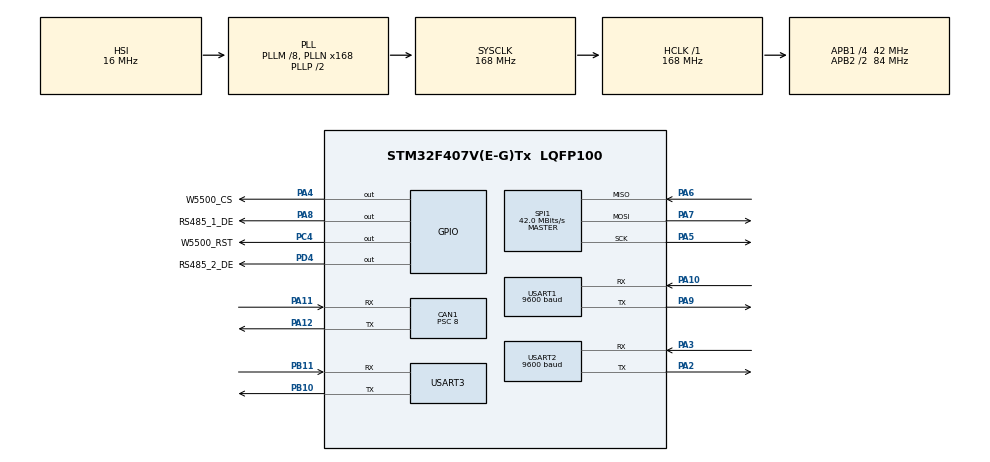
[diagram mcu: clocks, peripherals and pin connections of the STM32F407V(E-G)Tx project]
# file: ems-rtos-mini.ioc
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CAN1.ABOM=ENABLE
CAN1.BS1=CAN_BS1_16TQ
CAN1.BS2=CAN_BS2_4TQ
CAN1.CalculateBaudRate=250000
CAN1.CalculateTimeBit=4000
CAN1.CalculateTimeQuantum=190.47619047619048
CAN1.NART=ENABLE
CAN1.Prescaler=8
Dma.Request0=USART1_RX
Dma.Request1=USART1_TX
Dma.Request2=USART2_RX
Dma.Request3=USART2_TX
Dma.USART1_RX.0.Direction=DMA_PERIPH_TO_MEMORY
Dma.USART1_RX.0.FIFOMode=DMA_FIFOMODE_DISABLE
Dma.USART1_RX.0.Instance=DMA2_Stream2
Dma.USART1_RX.0.MemDataAlignment=DMA_MDATAALIGN_BYTE
Dma.USART1_RX.0.MemInc=DMA_MINC_ENABLE
Dma.USART1_RX.0.Mode=DMA_NORMAL
Dma.USART1_RX.0.PeriphDataAlignment=DMA_PDATAALIGN_BYTE
Dma.USART1_RX.0.PeriphInc=DMA_PINC_DISABLE
Dma.USART1_RX.0.Priority=DMA_PRIORITY_LOW
Dma.USART1_TX.1.Direction=DMA_MEMORY_TO_PERIPH
Dma.USART1_TX.1.FIFOMode=DMA_FIFOMODE_DISABLE
Dma.USART1_TX.1.Instance=DMA2_Stream7
Dma.USART1_TX.1.MemDataAlignment=DMA_MDATAALIGN_BYTE
Dma.USART1_TX.1.MemInc=DMA_MINC_ENABLE
Dma.USART1_TX.1.Mode=DMA_NORMAL
Dma.USART1_TX.1.PeriphDataAlignment=DMA_PDATAALIGN_BYTE
Dma.USART1_TX.1.PeriphInc=DMA_PINC_DISABLE
Dma.USART1_TX.1.Priority=DMA_PRIORITY_LOW
Dma.USART2_RX.2.Direction=DMA_PERIPH_TO_MEMORY
Dma.USART2_RX.2.FIFOMode=DMA_FIFOMODE_DISABLE
Dma.USART2_RX.2.Instance=DMA1_Stream5
Dma.USART2_RX.2.MemDataAlignment=DMA_MDATAALIGN_BYTE
Dma.USART2_RX.2.MemInc=DMA_MINC_ENABLE
Dma.USART2_RX.2.Mode=DMA_NORMAL
Dma.USART2_RX.2.PeriphDataAlignment=DMA_PDATAALIGN_BYTE
Dma.USART2_RX.2.PeriphInc=DMA_PINC_DISABLE
Dma.USART2_RX.2.Priority=DMA_PRIORITY_LOW
Dma.USART2_TX.3.Direction=DMA_MEMORY_TO_PERIPH
Dma.USART2_TX.3.FIFOMode=DMA_FIFOMODE_DISABLE
Dma.USART2_TX.3.Instance=DMA1_Stream6
Dma.USART2_TX.3.MemDataAlignment=DMA_MDATAALIGN_BYTE
Dma.USART2_TX.3.MemInc=DMA_MINC_ENABLE
Dma.USART2_TX.3.Mode=DMA_NORMAL
Dma.USART2_TX.3.PeriphDataAlignment=DMA_PDATAALIGN_BYTE
Dma.USART2_TX.3.PeriphInc=DMA_PINC_DISABLE
Dma.USART2_TX.3.Priority=DMA_PRIORITY_LOW
FREERTOS.Tasks01=defaultTask,24,128,StartDefaultTask,Default,NULL,Dynamic,NULL,NULL
Mcu.Family=STM32F4
Mcu.Name=STM32F407V(E-G)Tx
Mcu.Package=LQFP100
NVIC.CAN1_RX0_IRQn=true\:5\:0\:false\:false\:true\:true\:true\:true\:true
NVIC.DMA1_Stream5_IRQn=true\:5\:0\:false\:false\:true\:true\:false\:true\:true
NVIC.DMA1_Stream6_IRQn=true\:5\:0\:false\:false\:true\:true\:false\:true\:true
NVIC.DMA2_Stream2_IRQn=true\:5\:0\:false\:false\:true\:true\:false\:true\:true
NVIC.DMA2_Stream7_IRQn=true\:5\:0\:false\:false\:true\:true\:false\:true\:true
NVIC.PriorityGroup=NVIC_PRIORITYGROUP_4
NVIC.TIM1_UP_TIM10_IRQn=true\:15\:0\:false\:false\:true\:false\:false\:true\:true
NVIC.TimeBase=TIM1_UP_TIM10_IRQn
NVIC.TimeBaseIP=TIM1
NVIC.USART1_IRQn=true\:5\:0\:false\:false\:true\:true\:true\:true\:true
NVIC.USART2_IRQn=true\:5\:0\:false\:false\:true\:true\:false\:true\:true
PA10.Mode=Asynchronous
PA10.Signal=USART1_RX
PA11.Mode=CAN_Activate
PA11.Signal=CAN1_RX
PA12.Mode=CAN_Activate
PA12.Signal=CAN1_TX
PA13.Mode=Serial_Wire
PA13.Signal=SYS_JTMS-SWDIO
PA14.Mode=Serial_Wire
PA14.Signal=SYS_JTCK-SWCLK
PA2.Mode=Asynchronous
PA2.Signal=USART2_TX
PA3.Mode=Asynchronous
PA3.Signal=USART2_RX
PA4.GPIO_Label=W5500_CS
PA4.Signal=GPIO_Output
PA5.Mode=Full_Duplex_Master
PA5.Signal=SPI1_SCK
PA6.Mode=Full_Duplex_Master
PA6.Signal=SPI1_MISO
PA7.Mode=Full_Duplex_Master
PA7.Signal=SPI1_MOSI
PA8.GPIO_Label=RS485_1_DE
PA8.Signal=GPIO_Output
PA9.Mode=Asynchronous
PA9.Signal=USART1_TX
PB10.Mode=Asynchronous
PB10.Signal=USART3_TX
PB11.Mode=Asynchronous
PB11.Signal=USART3_RX
PC4.GPIO_Label=W5500_RST
PC4.Signal=GPIO_Output
PD4.GPIO_Label=RS485_2_DE
PD4.Signal=GPIO_Output
PH0-OSC_IN.Mode=HSE-External-Oscillator
PH0-OSC_IN.Signal=RCC_OSC_IN
PH1-OSC_OUT.Mode=HSE-External-Oscillator
PH1-OSC_OUT.Signal=RCC_OSC_OUT
ProjectManager.HeapSize=0x200
ProjectManager.StackSize=0x400
ProjectManager.TargetToolchain=STM32CubeIDE
RCC.48MHZClocksFreq_Value=84000000
RCC.AHBFreq_Value=168000000
RCC.APB1CLKDivider=RCC_HCLK_DIV4
RCC.APB1Freq_Value=42000000
RCC.APB1TimFreq_Value=84000000
RCC.APB2CLKDivider=RCC_HCLK_DIV2
RCC.APB2Freq_Value=84000000
RCC.APB2TimFreq_Value=168000000
RCC.CortexFreq_Value=168000000
RCC.HCLKFreq_Value=168000000
RCC.HSE_VALUE=25000000
RCC.HSI_VALUE=16000000
RCC.LSE_VALUE=32768
RCC.PLLM=8
RCC.PLLN=168
RCC.SYSCLKFreq_VALUE=168000000
RCC.SYSCLKSource=RCC_SYSCLKSOURCE_PLLCLK
RCC.VCOOutputFreq_Value=336000000
SPI1.CalculateBaudRate=42.0 MBits/s
SPI1.Direction=SPI_DIRECTION_2LINES
SPI1.Mode=SPI_MODE_MASTER
SPI1.VirtualType=VM_MASTER
USART1.BaudRate=9600
USART1.VirtualMode=VM_ASYNC
USART2.BaudRate=9600
USART2.VirtualMode=VM_ASYNC
USART3.VirtualMode=VM_ASYNC
VP_FREERTOS_VS_CMSIS_V2.Mode=CMSIS_V2
VP_SYS_VS_tim1.Mode=TIM1
board=custom

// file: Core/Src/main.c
/* USER CODE BEGIN Header */
/**
  ******************************************************************************
  * @file           : main.c
  * @brief          : Main program body
  ******************************************************************************
  * @attention
  *
  * Copyright (c) 2026 STMicroelectronics.
  * All rights reserved.
  *
  * This software is licensed under terms that can be found in the LICENSE file
  * in the root directory of this software component.
  * If no LICENSE file comes with this software, it is provided AS-IS.
  *
  ******************************************************************************
  */
/* USER CODE END Header */
#include "main.h"
#include "cmsis_os.h"

/* USER CODE BEGIN Includes */
#include "FreeRTOS.h"
#include "task.h"
#include "modbus_rtu.h"
#include "bms_can.h"
#include "mqtt_ota.h"
/* USER CODE END Includes */

CAN_HandleTypeDef hcan1;

SPI_HandleTypeDef hspi1;

UART_HandleTypeDef huart1;
UART_HandleTypeDef huart2;
UART_HandleTypeDef huart3;
DMA_HandleTypeDef hdma_usart1_rx;
DMA_HandleTypeDef hdma_usart1_tx;
DMA_HandleTypeDef hdma_usart2_rx;
DMA_HandleTypeDef hdma_usart2_tx;

/* Definitions for Task_Net */
osThreadId_t netTaskHandle;
const osThreadAttr_t netTask_attributes = {
  .name = "Task_Net",
  .stack_size = 512 * 4,
  .priority = (osPriority_t) osPriorityNormal,
};

/* Definitions for Task_Ctrl */
osThreadId_t ctrlTaskHandle;

// CCM RAM Acceleration: Map the heavy decision brain stack natively to the fast zero-wait-state bus!
__attribute__((section(".ccmram"))) uint32_t ctrlTaskStack[512];
__attribute__((section(".ccmram"))) StaticTask_t ctrlTaskControlBlock;

const osThreadAttr_t ctrlTask_attributes = {
  .name = "Task_Ctrl",
  .cb_mem = &ctrlTaskControlBlock,
  .cb_size = sizeof(ctrlTaskControlBlock),
  .stack_mem = &ctrlTaskStack[0],
  .stack_size = sizeof(ctrlTaskStack),
  .priority = (osPriority_t) osPriorityHigh,
};

/* Definitions for Task_Poll */
osThreadId_t pollTaskHandle;
const osThreadAttr_t pollTask_attributes = {
  .name = "Task_Poll",
  .stack_size = 512 * 4,
  .priority = (osPriority_t) osPriorityRealtime,
};

/* Definitions for Queue_Cmd */
osMessageQueueId_t queueCmdHandle;
const osMessageQueueAttr_t queueCmd_attributes = {
  .name = "Queue_Cmd"
};

/* Definitions for Queue_Data */
osMessageQueueId_t queueDataHandle;
const osMessageQueueAttr_t queueData_attributes = {
  .name = "Queue_Data"
};
/* USER CODE BEGIN PV */
// Global thread-safe telemetry reflection for the 5-second MQTT publisher
volatile SystemState_t latest_system_state = {0};
/* USER CODE END PV */

void SystemClock_Config(void);
static void MX_GPIO_Init(void);
static void MX_DMA_Init(void);
static void MX_USART1_UART_Init(void);
static void MX_USART2_UART_Init(void);
static void MX_CAN1_Init(void);
static void MX_SPI1_Init(void);
static void MX_USART3_UART_Init(void);
void StartNetTask(void *argument);
void StartCtrlTask(void *argument);
void StartPollTask(void *argument);

int main(void)
{

  HAL_Init();

  /* Configure the system clock */
  SystemClock_Config();

  /* Initialize all configured peripherals */
  MX_GPIO_Init();
  MX_DMA_Init();
  MX_USART1_UART_Init();
  MX_USART2_UART_Init();
  MX_CAN1_Init();
  MX_SPI1_Init();
  MX_USART3_UART_Init();
  /* USER CODE BEGIN 2 */
  Modbus_Init();
  BMS_Init();
  NET_Init();
  /* USER CODE END 2 */

  /* Init scheduler */
  osKernelInitialize();
  /* Create the queues for inter-task communication */
  queueCmdHandle = osMessageQueueNew(16, sizeof(CloudCommand_t), &queueCmd_attributes);
  // queueData passes the full assembled system status from Polling up to Control logic
  queueDataHandle = osMessageQueueNew(32, sizeof(SystemState_t), &queueData_attributes);
  /* USER CODE END RTOS_QUEUES */

  /* Create the thread(s) */
  netTaskHandle = osThreadNew(StartNetTask, NULL, &netTask_attributes);
  ctrlTaskHandle = osThreadNew(StartCtrlTask, NULL, &ctrlTask_attributes);
  pollTaskHandle = osThreadNew(StartPollTask, NULL, &pollTask_attributes);

  /* Start scheduler */
  osKernelStart();

  /* We should never get here as control is now taken by the scheduler */

  /* Infinite loop */
  while (1)
  {

  }
}

void SystemClock_Config(void)
{
  RCC_OscInitTypeDef RCC_OscInitStruct = {0};
  RCC_ClkInitTypeDef RCC_ClkInitStruct = {0};

  /** Configure the main internal regulator output voltage
  */
  __HAL_RCC_PWR_CLK_ENABLE();
  __HAL_PWR_VOLTAGESCALING_CONFIG(PWR_REGULATOR_VOLTAGE_SCALE1);

  /** Initializes the RCC Oscillators according to the specified parameters
  * in the RCC_OscInitTypeDef structure.
  */
  RCC_OscInitStruct.OscillatorType = RCC_OSCILLATORTYPE_HSI;
  RCC_OscInitStruct.HSIState = RCC_HSI_ON;
  RCC_OscInitStruct.HSICalibrationValue = RCC_HSICALIBRATION_DEFAULT;
  RCC_OscInitStruct.PLL.PLLState = RCC_PLL_ON;
  RCC_OscInitStruct.PLL.PLLSource = RCC_PLLSOURCE_HSI;
  RCC_OscInitStruct.PLL.PLLM = 8;
  RCC_OscInitStruct.PLL.PLLN = 168;
  RCC_OscInitStruct.PLL.PLLP = RCC_PLLP_DIV2;
  RCC_OscInitStruct.PLL.PLLQ = 4;
  if (HAL_RCC_OscConfig(&RCC_OscInitStruct) != HAL_OK)
  {
    Error_Handler();
  }

  /** Initializes the CPU, AHB and APB buses clocks
  */
  RCC_ClkInitStruct.ClockType = RCC_CLOCKTYPE_HCLK|RCC_CLOCKTYPE_SYSCLK
                              |RCC_CLOCKTYPE_PCLK1|RCC_CLOCKTYPE_PCLK2;
  RCC_ClkInitStruct.SYSCLKSource = RCC_SYSCLKSOURCE_PLLCLK;
  RCC_ClkInitStruct.AHBCLKDivider = RCC_SYSCLK_DIV1;
  RCC_ClkInitStruct.APB1CLKDivider = RCC_HCLK_DIV4;
  RCC_ClkInitStruct.APB2CLKDivider = RCC_HCLK_DIV2;

  if (HAL_RCC_ClockConfig(&RCC_ClkInitStruct, FLASH_LATENCY_5) != HAL_OK)
  {
    Error_Handler();
  }
}

static void MX_CAN1_Init(void)
{

  hcan1.Instance = CAN1;
  hcan1.Init.Prescaler = 8;
  hcan1.Init.Mode = CAN_MODE_NORMAL;
  hcan1.Init.SyncJumpWidth = CAN_SJW_1TQ;
  hcan1.Init.TimeSeg1 = CAN_BS1_16TQ;
  hcan1.Init.TimeSeg2 = CAN_BS2_4TQ;
  hcan1.Init.TimeTriggeredMode = DISABLE;
  hcan1.Init.AutoBusOff = ENABLE;
  hcan1.Init.AutoWakeUp = DISABLE;
  hcan1.Init.AutoRetransmission = ENABLE;
  hcan1.Init.ReceiveFifoLocked = DISABLE;
  hcan1.Init.TransmitFifoPriority = DISABLE;
  if (HAL_CAN_Init(&hcan1) != HAL_OK)
  {
    Error_Handler();
  }

}

static void MX_SPI1_Init(void)
{

  /* SPI1 parameter configuration*/
  hspi1.Instance = SPI1;
  hspi1.Init.Mode = SPI_MODE_MASTER;
  hspi1.Init.Direction = SPI_DIRECTION_2LINES;
  hspi1.Init.DataSize = SPI_DATASIZE_8BIT;
  hspi1.Init.CLKPolarity = SPI_POLARITY_LOW;
  hspi1.Init.CLKPhase = SPI_PHASE_1EDGE;
  hspi1.Init.NSS = SPI_NSS_SOFT;
  hspi1.Init.BaudRatePrescaler = SPI_BAUDRATEPRESCALER_2;
  hspi1.Init.FirstBit = SPI_FIRSTBIT_MSB;
  hspi1.Init.TIMode = SPI_TIMODE_DISABLE;
  hspi1.Init.CRCCalculation = SPI_CRCCALCULATION_DISABLE;
  hspi1.Init.CRCPolynomial = 10;
  if (HAL_SPI_Init(&hspi1) != HAL_OK)
  {
    Error_Handler();
  }

}

static void MX_USART1_UART_Init(void)
{

  huart1.Instance = USART1;
  huart1.Init.BaudRate = 9600;
  huart1.Init.WordLength = UART_WORDLENGTH_8B;
  huart1.Init.StopBits = UART_STOPBITS_1;
  huart1.Init.Parity = UART_PARITY_NONE;
  huart1.Init.Mode = UART_MODE_TX_RX;
  huart1.Init.HwFlowCtl = UART_HWCONTROL_NONE;
  huart1.Init.OverSampling = UART_OVERSAMPLING_16;
  if (HAL_UART_Init(&huart1) != HAL_OK)
  {
    Error_Handler();
  }

}

static void MX_USART2_UART_Init(void)
{

  huart2.Instance = USART2;
  huart2.Init.BaudRate = 9600;
  huart2.Init.WordLength = UART_WORDLENGTH_8B;
  huart2.Init.StopBits = UART_STOPBITS_1;
  huart2.Init.Parity = UART_PARITY_NONE;
  huart2.Init.Mode = UART_MODE_TX_RX;
  huart2.Init.HwFlowCtl = UART_HWCONTROL_NONE;
  huart2.Init.OverSampling = UART_OVERSAMPLING_16;
  if (HAL_UART_Init(&huart2) != HAL_OK)
  {
    Error_Handler();
  }

}

static void MX_USART3_UART_Init(void)
{

  huart3.Instance = USART3;
  huart3.Init.BaudRate = 115200;
  huart3.Init.WordLength = UART_WORDLENGTH_8B;
  huart3.Init.StopBits = UART_STOPBITS_1;
  huart3.Init.Parity = UART_PARITY_NONE;
  huart3.Init.Mode = UART_MODE_TX_RX;
  huart3.Init.HwFlowCtl = UART_HWCONTROL_NONE;
  huart3.Init.OverSampling = UART_OVERSAMPLING_16;
  if (HAL_UART_Init(&huart3) != HAL_OK)
  {
    Error_Handler();
  }

}

static void MX_DMA_Init(void)
{

  /* DMA controller clock enable */
  __HAL_RCC_DMA2_CLK_ENABLE();
  __HAL_RCC_DMA1_CLK_ENABLE();

  /* DMA interrupt init */
  /* DMA1_Stream5_IRQn interrupt configuration */
  HAL_NVIC_SetPriority(DMA1_Stream5_IRQn, 5, 0);
  HAL_NVIC_EnableIRQ(DMA1_Stream5_IRQn);
  /* DMA1_Stream6_IRQn interrupt configuration */
  HAL_NVIC_SetPriority(DMA1_Stream6_IRQn, 5, 0);
  HAL_NVIC_EnableIRQ(DMA1_Stream6_IRQn);
  /* DMA2_Stream2_IRQn interrupt configuration */
  HAL_NVIC_SetPriority(DMA2_Stream2_IRQn, 5, 0);
  HAL_NVIC_EnableIRQ(DMA2_Stream2_IRQn);
  /* DMA2_Stream7_IRQn interrupt configuration */
  HAL_NVIC_SetPriority(DMA2_Stream7_IRQn, 5, 0);
  HAL_NVIC_EnableIRQ(DMA2_Stream7_IRQn);

}

static void MX_GPIO_Init(void)
{
  GPIO_InitTypeDef GPIO_InitStruct = {0};

  /* GPIO Ports Clock Enable */
  __HAL_RCC_GPIOH_CLK_ENABLE();
  __HAL_RCC_GPIOA_CLK_ENABLE();
  __HAL_RCC_GPIOC_CLK_ENABLE();
  __HAL_RCC_GPIOB_CLK_ENABLE();
  __HAL_RCC_GPIOD_CLK_ENABLE();

  /*Configure GPIO pin Output Level */
  HAL_GPIO_WritePin(GPIOA, W5500_CS_Pin|RS485_1_DE_Pin, GPIO_PIN_RESET);

  /*Configure GPIO pin Output Level */
  HAL_GPIO_WritePin(W5500_RST_GPIO_Port, W5500_RST_Pin, GPIO_PIN_RESET);

  /*Configure GPIO pin Output Level */
  HAL_GPIO_WritePin(RS485_2_DE_GPIO_Port, RS485_2_DE_Pin, GPIO_PIN_RESET);

  /*Configure GPIO pins : W5500_CS_Pin RS485_1_DE_Pin */
  GPIO_InitStruct.Pin = W5500_CS_Pin|RS485_1_DE_Pin;
  GPIO_InitStruct.Mode = GPIO_MODE_OUTPUT_PP;
  GPIO_InitStruct.Pull = GPIO_NOPULL;
  GPIO_InitStruct.Speed = GPIO_SPEED_FREQ_LOW;
  HAL_GPIO_Init(GPIOA, &GPIO_InitStruct);

  /*Configure GPIO pin : W5500_RST_Pin */
  GPIO_InitStruct.Pin = W5500_RST_Pin;
  GPIO_InitStruct.Mode = GPIO_MODE_OUTPUT_PP;
  GPIO_InitStruct.Pull = GPIO_NOPULL;
  GPIO_InitStruct.Speed = GPIO_SPEED_FREQ_LOW;
  HAL_GPIO_Init(W5500_RST_GPIO_Port, &GPIO_InitStruct);

  /*Configure GPIO pin : RS485_2_DE_Pin */
  GPIO_InitStruct.Pin = RS485_2_DE_Pin;
  GPIO_InitStruct.Mode = GPIO_MODE_OUTPUT_PP;
  GPIO_InitStruct.Pull = GPIO_NOPULL;
  GPIO_InitStruct.Speed = GPIO_SPEED_FREQ_LOW;
  HAL_GPIO_Init(RS485_2_DE_GPIO_Port, &GPIO_InitStruct);

}

/* USER CODE BEGIN 4 */

extern ModbusInterface_t Modbus_GridMeter;
extern ModbusInterface_t Modbus_Inverters;

/**
 * @brief This hardware interrupt fires the instant the final DMA byte fully leaves the silicone UART queue.
 *        We immediately pull the MAX3485 Transceiver 'DE' (Driver Enable) pin LOW so we flip
 *        the bus from Transmit to Listen before the Slave device starts throwing data back at us.
 */
void HAL_UART_TxCpltCallback(UART_HandleTypeDef *huart)
{
    if (huart->Instance == USART1) {
        HAL_GPIO_WritePin(Modbus_GridMeter.dePort, Modbus_GridMeter.dePin, GPIO_PIN_RESET);

        // Listen backwards using Interrupt. It puts every byte into rxBuffer.
        HAL_UARTEx_ReceiveToIdle_DMA(&huart1, Modbus_GridMeter.rxBuffer, MODBUS_MAX_FRAMELEN);
        __HAL_DMA_DISABLE_IT(&hdma_usart1_rx, DMA_IT_HT); // Disable half-transfer interrupt
    }
    else if (huart->Instance == USART2) {
        HAL_GPIO_WritePin(Modbus_Inverters.dePort, Modbus_Inverters.dePin, GPIO_PIN_RESET);

        HAL_UARTEx_ReceiveToIdle_DMA(&huart2, Modbus_Inverters.rxBuffer, MODBUS_MAX_FRAMELEN);
        __HAL_DMA_DISABLE_IT(&hdma_usart2_rx, DMA_IT_HT);
    }
}

/**
 * @brief This hardware IDLE interrupt fires when the bus goes completely silent after a stream of bytes.
 *        In Modbus, 3.5 character times of silence strictly means the packet is fully over.
 *        This means the Slave device just stopped transmitting.
 */
void HAL_UARTEx_RxEventCallback(UART_HandleTypeDef *huart, uint16_t Size)
{
    if (huart->Instance == USART1) {
        // Record size of the finished packet
        Modbus_GridMeter.rxBytesReceived = Size;

        // Unblock the FreeRTOS Poll_Task instantly!
        osSemaphoreRelease(Modbus_GridMeter.rxCompleteSem);
    }
    else if (huart->Instance == USART2) {
        Modbus_Inverters.rxBytesReceived = Size;
        osSemaphoreRelease(Modbus_Inverters.rxCompleteSem);
    }
}

extern osMessageQueueId_t queueCanRxHandle;

/**
 * @brief This hardware interrupt fires the instant a CAN frame securely lands in
 *        the Silicon RX FIFO 0 Mailbox. It unpacks the raw memory registers and
 *        safely stuffs the frame onto the end of the FreeRTOS Queue_CANRx.
 */
void HAL_CAN_RxFifo0MsgPendingCallback(CAN_HandleTypeDef *hcan)
{
    if (hcan->Instance == CAN1) {
        CAN_RxHeaderTypeDef RxHeader;
        CanFrame_t rxFrame;

        // Fetch frame safely from silicon hardware mailbox into our C-Struct
        if (HAL_CAN_GetRxMessage(hcan, CAN_RX_FIFO0, &RxHeader, rxFrame.data) == HAL_OK) {

            // Unpack 11-Bit or 29-Bit Identifier
            if (RxHeader.IDE == CAN_ID_EXT) {
                rxFrame.id = RxHeader.ExtId;
                rxFrame.isExtended = 1;
            } else {
                rxFrame.id = RxHeader.StdId;
                rxFrame.isExtended = 0;
            }

            rxFrame.dlc = RxHeader.DLC; // Data Length (0-8)

            // Instantly shovel into the RTOS queue (Non-Blocking)
            // If the 16-frame queue is totally full, we discard it to prevent crashing the OS.
            osMessageQueuePut(queueCanRxHandle, &rxFrame, 0, 0);
        }
    }
}

/* USER CODE END 4 */

/* USER CODE BEGIN Header_StartNetTask */
/**
  * @brief  Function implementing the Task_Net thread.
  * @param  argument: Not used
  * @retval None
  * @note   This handles the W5500 physical MAC/PHY logic over SPI and publishes to Mosquitto.
  */
/* USER CODE END Header_StartNetTask */
void StartNetTask(void *argument)
{
  /* USER CODE BEGIN StartNetTask */

  // This function drives the entire MQTT polling and parsing loop
  // It takes a pointer to the global SystemState so it can snapshot it every 5s
  NET_Process_MQTT((SystemState_t*)&latest_system_state);

  /* USER CODE END StartNetTask */
}

/* USER CODE BEGIN Header_StartCtrlTask */
/**
  * @brief  Function implementing the Task_Ctrl thread.
  * @param  argument: Not used
  * @retval None
  * @note   This task executes the INSTANTANEOUS LOAD BALANCING (Peak-Shaving) logic!
  *         It rests at 0% CPU until Task_Poll drops a fresh SystemState_t into the Queue.
  */
/* USER CODE END Header_StartCtrlTask */
void StartCtrlTask(void *argument)
{
  /* USER CODE BEGIN StartCtrlTask */
  SystemState_t incomingData;
  CloudCommand_t incomingCmd;
  int32_t commandInverterTargetPower_W = 0; // Positive = Charge Bat, Negative = Discharge Bat

  // Keep a local copy of limits that Cloud can overwrite
  int32_t activeGridLimitW = MAX_GRID_IMPORT_W;

  /* Infinite loop */
  for(;;)
  {
    // 1. Process any Top-Down Cloud commands (Priority overrides)
    if(osMessageQueueGet(queueCmdHandle, &incomingCmd, NULL, 0) == osOK) {
        if (incomingCmd.type == CMD_UPDATE_GRID_LIMIT) {
            activeGridLimitW = incomingCmd.value; // Dynamically tighten/loosen the import limit!
        }
        else if (incomingCmd.type == CMD_OTA_START) {
            NET_Run_OTA_Download("http://192.168.1.50/firmware.bin");
        }
    }

    // 2. Await High-Speed Hardware Telemetry from Bottom-Up
    // osWaitForever means this task literally sleeps indefinitely without burning clock cycles
    // until `queueDataHandle` gets populated by the RS-485/CAN hardware!
    if(osMessageQueueGet(queueDataHandle, &incomingData, NULL, osWaitForever) == osOK) {

        // Update the global visual state for the Network Publisher to steal
        latest_system_state = incomingData;

        // --- PEAK SHAVING ALGORITHM --- //
        commandInverterTargetPower_W = 0; // Default to idle

        // CASE A: We are pulling too much power from the Utility Grid!
        // We need the Battery to discharge and "Shave" the peak off.
        if (incomingData.gridPowerW > activeGridLimitW) {

            // Calculate how much we need the battery to push
            int32_t deltaPowerNeeded = incomingData.gridPowerW - activeGridLimitW;

            // Safety constraints: Do not kill the battery or violate BMS limits!
            if (incomingData.batterySoC > MIN_ALLOWABLE_SOC) {
                // Clamp target to the BMS's allowed limit
                if (deltaPowerNeeded > incomingData.maxDischargeLimitW) {
                    deltaPowerNeeded = incomingData.maxDischargeLimitW;
                }

                // Discharge command is negative in this convention
                commandInverterTargetPower_W = -deltaPowerNeeded;
            }
        }

        // CASE B: Solar is pushing massive excess out to the Grid!
        // We should capture this into the battery instead of exporting it.
        else if (incomingData.gridPowerW < 0) {

            // E.g. Grid is -2000W (Exporting 2kW). We want to absorb 2000W.
            int32_t excessPower = -(incomingData.gridPowerW);

            if (incomingData.batterySoC < 100) {
                // Clamp target to BMS allowed limit
                if (excessPower > incomingData.maxChargeLimitW) {
                    excessPower = incomingData.maxChargeLimitW;
                }
                commandInverterTargetPower_W = excessPower; // Positive = Charge
            }
        }

        // --- EXECUTE COMMAND --- //
        if (commandInverterTargetPower_W != 0) {
            // In reality, this would be a Modbus WRITE holding register command
            // over USART2 to tell the Solar/Battery Inverter what to do!
            // Modbus_Write_Register(MODBUS_BUS_INVERTER, ... commandInverterTargetPower_W);
        }

    } // End Queue Data Receive Block
  }   // End Infinite Loop
  /* USER CODE END StartCtrlTask */
}

void StartPollTask(void *argument)
{
  /* USER CODE BEGIN StartPollTask */
  uint8_t rxData[16] = {0};

  // Persistent structural models holding raw parsed byte data
  BatteryState_t bmsData = {
    .soc_percentage = 50,           // Fallback defaults
    .maxDischargeLimitW = 3000,
    .maxChargeLimitW = 3000
  };
  SystemState_t liveSystem;         // Assembled payload for Control task

  /* Infinite loop */
  for(;;)
  {
    /* --- 1. PROCESS ALWAYS-ON CAN BUS TRAFFIC --- */
    // Empty the `Queue_CANRx` instantly into the `bmsData` struct if the batteries broadcasted.
    // This does completely 0 CPU blocking. It only takes nanoseconds if the queue is empty.
    BMS_Process_Incoming_Traffic(&bmsData);

    /* --- 2. TRIGGER SEQUENTIAL MODBUS READS --- */
    // Example: Read 2 holding registers (4 bytes) from Grid Meter (Slave ID 1) at Address 0x0118 (Grid Power).
    // This call puts this task to sleep (Yields to OS) until the MAX3485 finishes the hardware transaction!
    ModbusStatus_t status = Modbus_Read_Registers(
        MODBUS_BUS_GRID,
        1,
        FC_READ_HOLDING_REGS,
        0x0118,  // Hypothetical address for Total System Power (W)
        2,
        rxData
    );

    if (status == MODBUS_ERR_OK) {
        // Valid hardware response! Unpack physical bytes to Signed Integer (W)
        int32_t meterPowerW = (int32_t)((rxData[0] << 24) | (rxData[1] << 16) | (rxData[2] << 8) | rxData[3]);

        // Assemble consolidated state
        liveSystem.gridPowerW         = meterPowerW;
        liveSystem.batterySoC         = bmsData.soc_percentage;
        liveSystem.maxChargeLimitW    = bmsData.maxChargeLimitW;
        liveSystem.maxDischargeLimitW = bmsData.maxDischargeLimitW;

        /* STATE_PUBLISH: Pass the complete package into Queue_Data to instantly trigger Peak Shaving! */
        osMessageQueuePut(queueDataHandle, &liveSystem, 0, 0);
    }
    else {
        // Handle physical bridge error (timeout, crc fail)
    }

    // Hard real-time polling delay
    osDelay(300); // Poll meters every 300ms (Very fast control loop)
  }
  /* USER CODE END StartPollTask */
}

void HAL_TIM_PeriodElapsedCallback(TIM_HandleTypeDef *htim)
{
  if (htim->Instance == TIM1)
  {
    HAL_IncTick();
  }
}

void Error_Handler(void)
{
  __disable_irq();
  while (1)
  {
  }
}
